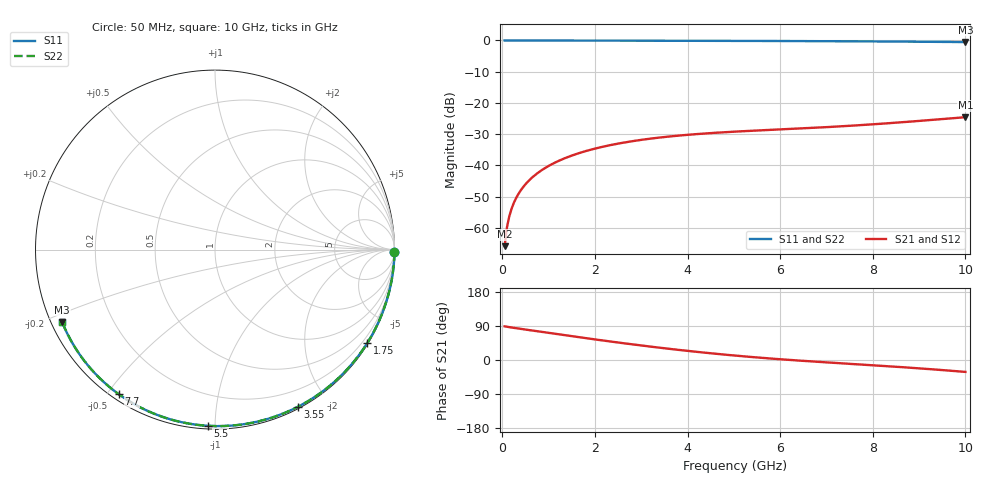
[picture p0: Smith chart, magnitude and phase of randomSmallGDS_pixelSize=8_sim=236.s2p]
! freq	dB(S11)	phase(S11)	dB(S12)	phase(S12)
!  dB(S21)	phase(S21)	dB(S22)	phase(S22)
!S-par simulation data
#  GHz  S  DB  R 50
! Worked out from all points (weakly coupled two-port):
!   200 points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, 50 MHz to 10 GHz, reference 50 ohm
!   highest |S21| = -24.57 dB at 10 GHz (marker M1); lowest = -65.8 dB at 50 MHz (marker M2)
!   lowest |S11| = -0.5 dB at 10 GHz (marker M3), VSWR 33.79, Z = 1.55 - j11.2 ohm
!   |S11| at or under -10 dB: nowhere
!   |S22| runs from -0.5 to 0.0 dB; largest |S21 - S12| = 0
!   S11 on the Smith chart (normalised r, x): 50 MHz: open; 1.75 GHz: 0.03, -3.54; 3.55 GHz: 0.02, -1.66; 5.5 GHz: 0.02, -0.96; 7.7 GHz: 0.02, -0.54; 10 GHz: 0.03, -0.22
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0.05  -0.00 -0.9  -65.85 88.9  -65.85 88.9  -0.00 -0.9
0.1  -0.00 -1.8  -59.85 87.8  -59.85 87.8  -0.00 -1.8
0.15  -0.00 -2.8  -56.35 86.7  -56.35 86.7  -0.00 -2.8
0.2  -0.00 -3.7  -53.88 85.7  -53.88 85.7  -0.00 -3.7
0.25  -0.00 -4.6  -51.96 84.8  -51.96 84.8  -0.00 -4.6
0.35  -0.00 -6.4  -49.08 83.0  -49.08 83.0  -0.00 -6.4
0.5  -0.01 -9.2  -46.04 80.3  -46.04 80.3  -0.01 -9.2
0.7  -0.01 -12.8  -43.17 76.8  -43.17 76.8  -0.01 -12.8
1  -0.02 -18.2  -40.17 71.6  -40.17 71.6  -0.02 -18.2
1.35  -0.03 -24.5  -37.70 65.5  -37.70 65.5  -0.03 -24.5
1.75  -0.04 -31.6  -35.64 58.6  -35.64 58.6  -0.04 -31.6
2.5  -0.06 -44.6  -33.02 46.1  -33.02 46.1  -0.06 -44.6
3.4  -0.08 -59.7  -31.07 32.4  -31.07 32.4  -0.08 -59.7
3.55  -0.09 -62.1  -30.83 30.3  -30.83 30.3  -0.09 -62.2
4.3  -0.11 -74.1  -29.86 20.2  -29.86 20.2  -0.11 -74.2
5.05  -0.13 -85.7  -29.16 11.4  -29.16 11.4  -0.13 -85.7
5.5  -0.15 -92.4  -28.82 6.7  -28.82 6.7  -0.15 -92.5
6.7  -0.22 -109.7  -27.98 -3.9  -27.98 -3.9  -0.22 -109.8
7.7  -0.28 -123.6  -27.14 -11.6  -27.14 -11.6  -0.28 -123.6
8.35  -0.34 -132.4  -26.48 -16.6  -26.48 -16.6  -0.34 -132.4
9.2  -0.42 -143.8  -25.52 -23.8  -25.52 -23.8  -0.42 -143.9
10  -0.51 -154.7  -24.57 -31.4  -24.57 -31.4  -0.51 -154.7
